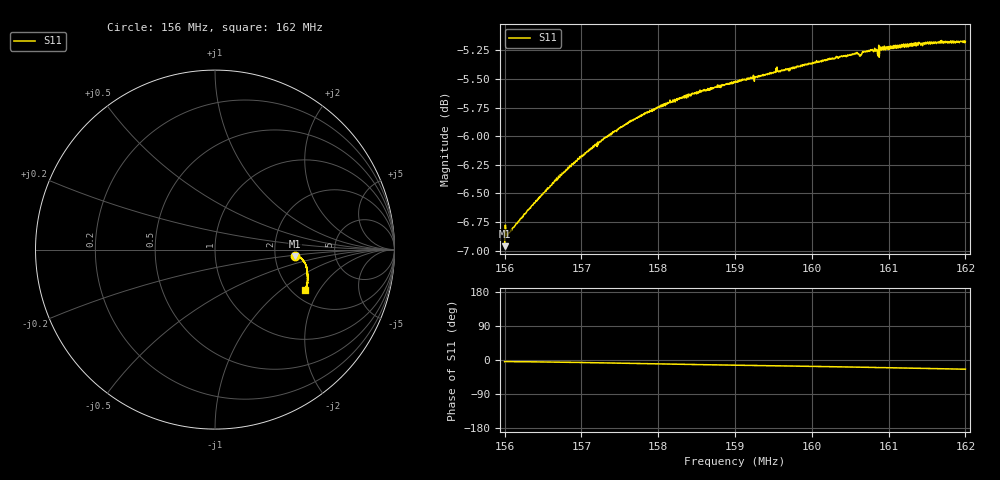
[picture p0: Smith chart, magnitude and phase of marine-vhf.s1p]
! Calibrated averaged scanner-service zoom
# Hz S RI R 50
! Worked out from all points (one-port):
!   1001 points, 156 MHz to 162 MHz, reference 50 ohm
!   lowest |S11| = -7.0 dB at 156 MHz (marker M1), VSWR 2.63, Z = 130 - j11.5 ohm
!   |S11| at or under -10 dB: nowhere
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1.56e8  0.4473 -0.0353
1.56036e8  0.4523 -0.0336
1.56054e8  0.4533 -0.0331
1.56252e8  0.4618 -0.0367
1.56498e8  0.4709 -0.0429
1.5675e8  0.4805 -0.0485
1.56978e8  0.4878 -0.0558
1.57158e8  0.4919 -0.0624
1.575e8  0.5001 -0.0734
1.57818e8  0.5051 -0.085
1.5825e8  0.5108 -0.1002
1.58574e8  0.5127 -0.1114
1.59e8  0.5141 -0.125
1.59498e8  0.5151 -0.1408
1.59534e8  0.5176 -0.1416
1.5975e8  0.5155 -0.1482
1.60062e8  0.5171 -0.1582
1.605e8  0.5154 -0.1729
1.60566e8  0.516 -0.175
1.60626e8  0.514 -0.1757
1.60686e8  0.5155 -0.1793
1.60758e8  0.5148 -0.1818
1.60818e8  0.5155 -0.1844
1.6086e8  0.5105 -0.1862
1.60944e8  0.5151 -0.1891
1.6125e8  0.5119 -0.199
1.61658e8  0.5077 -0.2145
1.62e8  0.5024 -0.227
